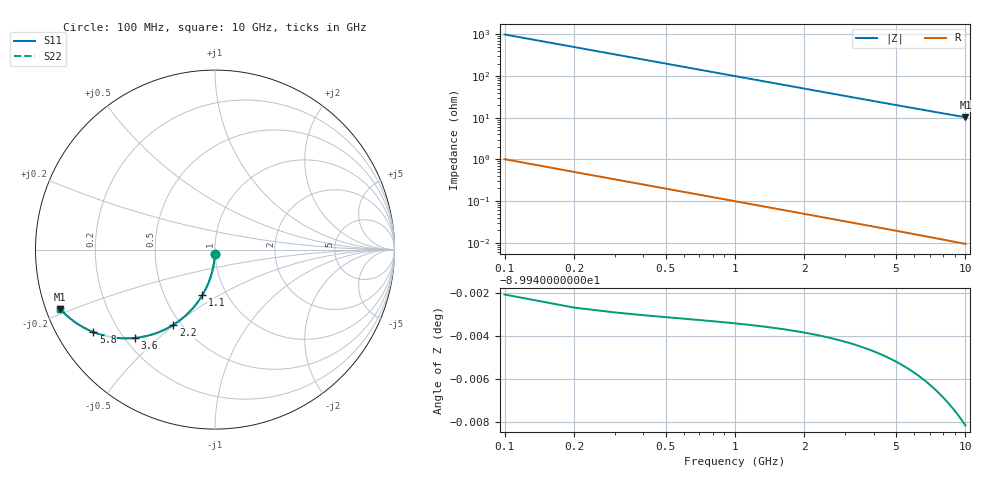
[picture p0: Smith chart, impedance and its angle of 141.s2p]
# Hz S RI R 50.00
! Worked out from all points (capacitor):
!   100 points, 100 MHz to 10 GHz, reference 50 ohm
!   read as one part in shunt: C = 1.59 pF near 100 MHz
!   lowest |Z| = 10.3 ohm at 10 GHz (marker M1)
!   S11 on the Smith chart (normalised r, x): 100 MHz: 1.00, -0.05; 1.1 GHz: 0.77, -0.42; 2.2 GHz: 0.45, -0.49; 3.6 GHz: 0.24, -0.42; 5.8 GHz: 0.11, -0.30; 10 GHz: 0.04, -0.19
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1e8  -0.000616 -0.0249  0.9993 -0.0251  0.9993 -0.0251  -0.000616 -0.0249
2e8  -0.00251 -0.0496  0.9974 -0.0501  0.9974 -0.0501  -0.00251 -0.0496
3e8  -0.00564 -0.0742  0.9943 -0.075  0.9943 -0.075  -0.00564 -0.0742
4e8  -0.00997 -0.0985  0.99 -0.0995  0.99 -0.0995  -0.00997 -0.0985
5e8  -0.0155 -0.1225  0.9844 -0.1237  0.9844 -0.1237  -0.0155 -0.1225
6e8  -0.0221 -0.146  0.9778 -0.1474  0.9778 -0.1474  -0.0221 -0.146
7e8  -0.0299 -0.1689  0.9701 -0.1707  0.9701 -0.1707  -0.0299 -0.1689
9e8  -0.0484 -0.213  0.9516 -0.2152  0.9516 -0.2152  -0.0484 -0.213
1.1e9  -0.0705 -0.2542  0.9294 -0.2569  0.9294 -0.2569  -0.0705 -0.2542
1.4e9  -0.1094 -0.3099  0.8906 -0.3134  0.8906 -0.3134  -0.1094 -0.3099
1.8e9  -0.1686 -0.3717  0.8313 -0.3761  0.8313 -0.3761  -0.1686 -0.3717
2.2e9  -0.2324 -0.4191  0.7676 -0.4246  0.7676 -0.4246  -0.2324 -0.4191
2.8e9  -0.3288 -0.4658  0.6711 -0.4728  0.6711 -0.4728  -0.3288 -0.4658
3.4e9  -0.4192 -0.4887  0.5807 -0.4972  0.5807 -0.4972  -0.4192 -0.4887
3.6e9  -0.4472 -0.4922  0.5527 -0.5012  0.5527 -0.5012  -0.4472 -0.4922
4.3e9  -0.5357 -0.4929  0.4642 -0.5036  0.4642 -0.5036  -0.5357 -0.4929
5.1e9  -0.6187 -0.4788  0.3812 -0.4916  0.3812 -0.4916  -0.6187 -0.4788
5.8e9  -0.6772 -0.4597  0.3226 -0.4743  0.3226 -0.4743  -0.6772 -0.4597
6.7e9  -0.7369 -0.4313  0.2629 -0.4482  0.2629 -0.4482  -0.7369 -0.4313
7.5e9  -0.7783 -0.4053  0.2214 -0.4243  0.2214 -0.4243  -0.7783 -0.4053
8.4e9  -0.8151 -0.3769  0.1846 -0.3983  0.1846 -0.3983  -0.8151 -0.3769
1e10  -0.8623 -0.3311  0.1373 -0.3567  0.1373 -0.3567  -0.8623 -0.3311
